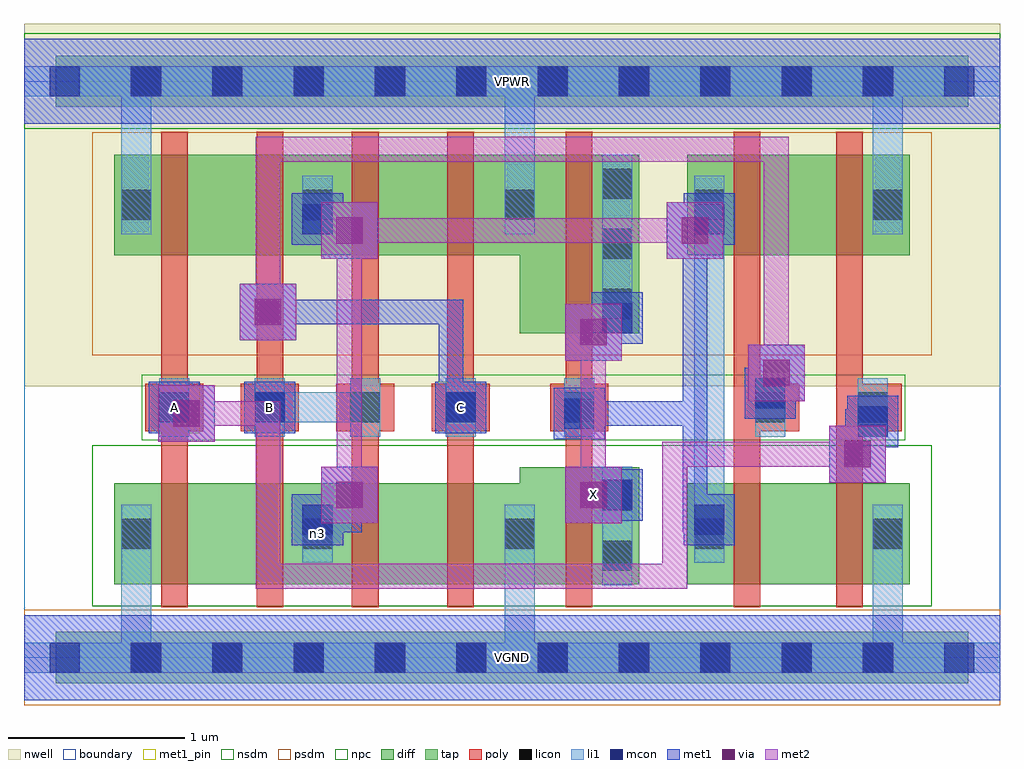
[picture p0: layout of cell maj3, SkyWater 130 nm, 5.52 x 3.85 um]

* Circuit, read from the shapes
.subckt maj3 A B C VGND VPWR X n3
XM1 n1 A VGND VGND sky130_fd_pr__nfet_01v8 w=0.57 l=0.15
XM2 n3 B n1 VGND sky130_fd_pr__nfet_01v8 w=0.57 l=0.15
XM3 n2 B n3 VGND sky130_fd_pr__nfet_01v8 w=0.57 l=0.15
XM4 VGND C n2 VGND sky130_fd_pr__nfet_01v8 w=0.57 l=0.15
XM5 X n3 VGND VGND sky130_fd_pr__nfet_01v8 w=0.66 l=0.15
XM6 n4 C n3 VGND sky130_fd_pr__nfet_01v8 w=0.57 l=0.15
XM7 VGND A n4 VGND sky130_fd_pr__nfet_01v8 w=0.57 l=0.15
XM8 n5 A VPWR VPWR sky130_fd_pr__pfet_01v8 w=0.57 l=0.15
XM9 n3 B n5 VPWR sky130_fd_pr__pfet_01v8 w=0.57 l=0.15
XM10 n6 B n3 VPWR sky130_fd_pr__pfet_01v8 w=0.57 l=0.15
XM11 VPWR C n6 VPWR sky130_fd_pr__pfet_01v8 w=0.57 l=0.15
XM12 X n3 VPWR VPWR sky130_fd_pr__pfet_01v8 w=1.01 l=0.15
XM13 n7 C n3 VPWR sky130_fd_pr__pfet_01v8 w=0.57 l=0.15
XM14 VPWR A n7 VPWR sky130_fd_pr__pfet_01v8 w=0.57 l=0.15
.ends

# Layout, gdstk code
import gdstk
lib = gdstk.Library(unit=1e-6, precision=1e-09)
def R(c, l, rs):  # rectangles x0, y0, x1, y1
    for r in rs: c.add(gdstk.rectangle(r[:2], r[2:], *l))
def A(c, l, x, y, w, h, nx, ny, dx, dy):  # array of equal rectangles
    R(c, l, [(x+i*dx, y+j*dy, x+i*dx+w, y+j*dy+h) for i in range(nx) for j in range(ny)])
nwell = (64, 20)
diff = (65, 20)
tap = (65, 44)
poly = (66, 20)
licon = (66, 44)
li1 = (67, 20)
mcon = (67, 44)
met1_pin = (68, 16)
met1 = (68, 20)
via = (68, 44)
met2 = (69, 20)
nsdm = (93, 44)
psdm = (94, 20)
npc = (95, 20)
boundary = (235, 4)

maj3 = lib.new_cell('maj3')
R(maj3, nwell, [(0,1.535,5.52,3.585)])
R(maj3, diff, [(0.51,0.415,2.805,0.985), (2.805,0.415,3.48,1.075), (3.75,0.415,5.01,0.985), (2.805,1.835,3.48,2.845), (0.51,2.275,2.805,2.845), (3.75,2.275,5.01,2.845)])
R(maj3, tap, [(0.18,-0.145,5.34,0.145), (0.18,3.115,5.34,3.405)])
A(maj3, poly, 0.775, 0.285, 0.15, 2.69, 4, 1, 0.54, 0)
A(maj3, poly, 0.685, 1.28, 0.33, 0.27, 4, 1, 0.54, 0)
R(maj3, poly, [(3.065,0.285,3.215,2.975), (4.015,0.285,4.165,2.975), (4.595,0.285,4.745,2.975), (2.975,1.28,3.305,1.55), (4.055,1.28,4.385,1.55), (4.635,1.28,4.965,1.55)])
A(maj3, licon, 0.605, -0.085, 0.17, 0.17, 10, 2, 0.46, 3.26)
A(maj3, licon, 0.765, 1.33, 0.17, 0.17, 4, 1, 0.54, 0)
A(maj3, licon, 3.27, 1.915, 0.17, 0.17, 1, 3, 0, 0.34)
R(maj3, licon, [(3.27,0.49,3.44,0.66), (0.55,0.615,0.72,0.785), (1.575,0.615,1.745,0.785), (2.72,0.615,2.89,0.785), (3.79,0.615,3.96,0.785), (4.8,0.615,4.97,0.785), (3.27,0.83,3.44,1), (3.055,1.33,3.225,1.5), (4.135,1.33,4.305,1.5), (4.715,1.33,4.885,1.5), (0.55,2.475,0.72,2.645), (1.575,2.475,1.745,2.645), (2.72,2.475,2.89,2.645), (3.79,2.475,3.96,2.645), (4.8,2.475,4.97,2.645)])
A(maj3, li1, 0.765, 1.25, 0.17, 0.33, 4, 1, 0.54, 0)
R(maj3, li1, [(0,-0.085,5.52,0.085), (0.55,-0.085,0.72,0.865), (2.72,-0.085,2.89,0.865), (4.8,-0.085,4.97,0.865), (3.27,0.41,3.44,1.08), (0.55,0.535,0.72,0.865), (1.575,0.535,1.745,0.865), (2.72,0.535,2.89,0.865), (3.79,0.535,3.96,0.865), (3.79,0.535,3.96,2.725), (4.8,0.535,4.97,0.865), (3.055,1.25,3.225,1.58), (4.135,1.25,4.305,1.58), (4.715,1.25,4.885,1.58), (1.305,1.33,2.015,1.5), (3.27,1.835,3.44,2.845), (0.55,2.395,0.72,2.725), (0.55,2.395,0.72,3.345), (1.575,2.395,1.745,2.725), (2.72,2.395,2.89,2.725), (2.72,2.395,2.89,3.345), (3.79,2.395,3.96,2.725), (4.8,2.395,4.97,2.725), (4.8,2.395,4.97,3.345), (0,3.175,5.52,3.345)])
A(maj3, mcon, 0.145, -0.085, 0.17, 0.17, 12, 2, 0.46, 3.26)
R(maj3, mcon, [(1.575,0.695,1.745,0.865), (3.79,0.695,3.96,0.865), (3.27,0.835,3.44,1.005), (4.715,1.25,4.885,1.42), (3.055,1.295,3.225,1.465), (0.765,1.33,0.935,1.5), (1.305,1.33,1.475,1.5), (2.385,1.33,2.555,1.5), (4.135,1.41,4.305,1.58), (3.27,1.835,3.44,2.005), (1.575,2.395,1.745,2.565), (3.79,2.395,3.96,2.565)])
R(maj3, met1_pin, [(0,-0.24,5.52,0.24), (3.06,0.76,3.38,1.08), (0.705,1.27,0.995,1.56), (1.245,1.27,1.535,1.56), (2.325,1.27,2.615,1.56), (0,3.02,5.52,3.5)])
R(maj3, met1, [(0,-0.24,5.52,0.24), (1.515,0.635,1.805,0.925), (3.73,0.635,4.02,0.925), (1.59,0.71,1.91,0.85), (1.77,0.71,1.91,0.99), (3.725,0.71,3.945,0.85), (3.725,0.71,3.865,0.99), (1.68,0.76,2,1.08), (3.06,0.76,3.38,1.08), (3.21,0.775,3.5,1.065), (3.15,0.85,3.425,0.99), (3.725,0.85,3.865,1.45), (4.555,0.99,4.875,1.31), (4.645,1.08,4.785,1.405), (4.655,1.19,4.945,1.48), (0.76,1.22,1.08,1.54), (2.995,1.235,3.285,1.525), (4.645,1.265,4.87,1.405), (0.705,1.27,0.995,1.56), (1.245,1.27,1.535,1.56), (2.325,1.27,2.615,1.56), (0.85,1.31,0.99,1.45), (2.345,1.31,2.485,1.45), (2.345,1.31,2.485,2.025), (3.07,1.31,3.405,1.45), (3.265,1.31,3.865,1.45), (3.725,1.31,3.865,2.37), (4.075,1.35,4.365,1.64), (4.15,1.425,4.325,1.565), (4.185,1.425,4.325,1.68), (4.095,1.45,4.415,1.77), (3.06,1.68,3.38,2), (3.15,1.77,3.29,1.99), (3.21,1.775,3.5,2.065), (1.22,1.795,1.54,2.115), (3.15,1.85,3.425,1.99), (1.31,1.885,2.485,2.025), (3.725,2.23,3.865,2.55), (3.725,2.23,3.865,2.485), (1.68,2.255,2,2.575), (3.635,2.255,3.955,2.575), (1.515,2.335,1.805,2.625), (3.73,2.335,4.02,2.625), (1.77,2.345,1.91,2.55), (1.59,2.41,1.91,2.55), (3.725,2.41,3.945,2.55), (0,3.02,5.52,3.5)])
R(maj3, via, [(1.765,0.845,1.915,0.995), (3.145,0.845,3.295,0.995), (4.64,1.075,4.79,1.225), (0.845,1.305,0.995,1.455), (4.18,1.535,4.33,1.685), (3.145,1.765,3.295,1.915), (1.305,1.88,1.455,2.03), (1.765,2.34,1.915,2.49), (3.72,2.34,3.87,2.49)])
R(maj3, met2, [(1.31,0.39,1.45,1.45), (1.31,0.39,3.75,0.53), (3.61,0.39,3.75,1.22), (1.68,0.76,2,1.08), (3.06,0.76,3.38,1.08), (1.77,0.85,1.91,2.485), (3.15,0.85,3.29,1.91), (4.555,0.99,4.875,1.31), (3.61,1.08,4.785,1.22), (0.76,1.22,1.08,1.54), (0.85,1.31,1.45,1.45), (4.095,1.45,4.415,1.77), (4.185,1.54,4.325,2.945), (3.06,1.68,3.38,2), (1.22,1.795,1.54,2.115), (1.31,1.885,1.45,2.945), (1.68,2.255,2,2.575), (3.635,2.255,3.955,2.575), (1.77,2.345,3.865,2.485), (1.31,2.805,4.325,2.945)])
R(maj3, nsdm, [(0.385,0.29,5.135,1.2), (0,2.99,5.52,3.53)])
R(maj3, psdm, [(0,-0.27,5.52,0.27), (0.385,1.71,5.135,2.97)])
R(maj3, npc, [(0.665,1.23,4.985,1.6)])
R(maj3, boundary, [(0,0,5.52,3.26)])
maj3.add(gdstk.Label('n3', (1.66,0.7), layer=67, texttype=5))
maj3.add(gdstk.Label('A', (0.85,1.415), layer=68, texttype=5))
maj3.add(gdstk.Label('B', (1.39,1.415), layer=68, texttype=5))
maj3.add(gdstk.Label('C', (2.47,1.415), layer=68, texttype=5))
maj3.add(gdstk.Label('X', (3.22,0.92), layer=68, texttype=5))
maj3.add(gdstk.Label('VPWR', (2.76,3.26), layer=68, texttype=5))
maj3.add(gdstk.Label('VGND', (2.76,0), layer=68, texttype=5))
maj3.add(gdstk.Label('A', (0.85,1.415), layer=68, texttype=16))
maj3.add(gdstk.Label('B', (1.39,1.415), layer=68, texttype=16))
maj3.add(gdstk.Label('C', (2.47,1.415), layer=68, texttype=16))
maj3.add(gdstk.Label('X', (3.22,0.92), layer=68, texttype=16))
maj3.add(gdstk.Label('VPWR', (2.76,3.26), layer=68, texttype=16))
maj3.add(gdstk.Label('VGND', (2.76,0), layer=68, texttype=16))

lib.write_gds('maj3.gds')
